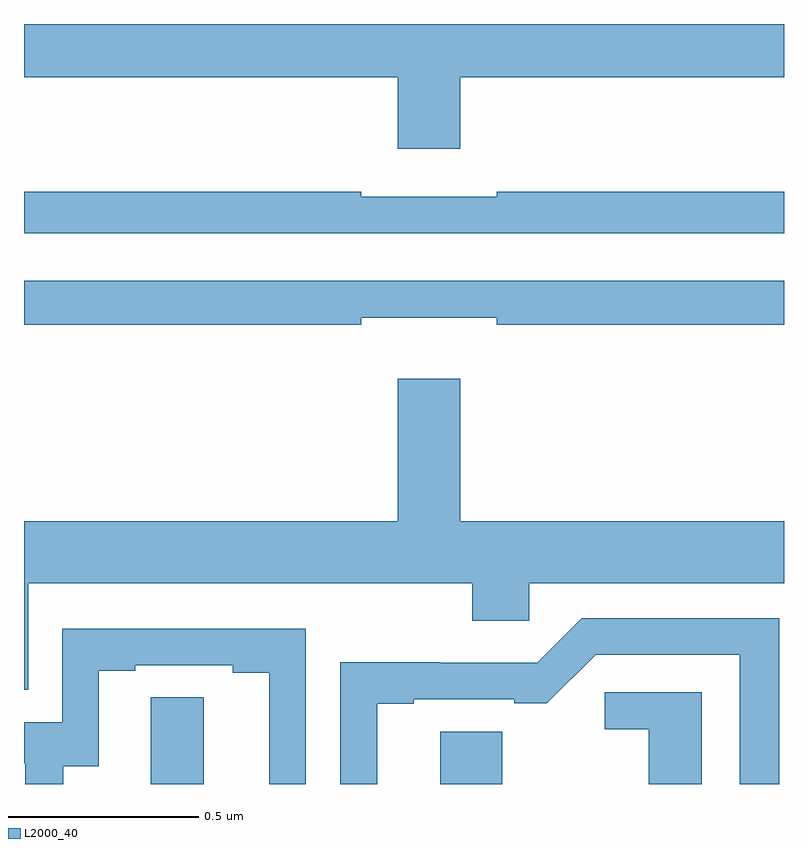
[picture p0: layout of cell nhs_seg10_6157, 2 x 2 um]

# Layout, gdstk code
import gdstk
lib = gdstk.Library(unit=1e-6, precision=1e-09)
def R(c, l, rs):  # rectangles x0, y0, x1, y1
    for r in rs: c.add(gdstk.rectangle(r[:2], r[2:], *l))
def P(c, l, *ps):  # polygons
    for p in ps: c.add(gdstk.Polygon(p, *l))
L2000_40 = (2000, 40)

nhs_seg10_6157 = lib.new_cell('nhs_seg10_6157')
R(nhs_seg10_6157, L2000_40, [(189.095,1254.5,189.258,1254.638)])
P(nhs_seg10_6157, L2000_40, [(189.148,1256.36),(190,1256.36),(190,1256.5),(188,1256.5),(188,1256.36),(188.984,1256.36),(188.984,1256.172),(189.148,1256.172)],
  [(190,1256.059),(189.244,1256.059),(189.244,1256.046),(188.888,1256.046),(188.888,1256.059),(188,1256.059),(188,1255.95),(190,1255.95)],
  [(188.888,1255.727),(189.244,1255.727),(189.244,1255.708),(190,1255.708),(190,1255.824),(188,1255.824),(188,1255.708),(188.888,1255.708)],
  [(188.011,1255.028),(189.179,1255.028),(189.179,1254.93),(189.33,1254.93),(189.33,1255.028),(190,1255.028),(190,1255.192),(189.148,1255.192),(189.148,1255.567),(188.984,1255.567),(188.984,1255.192),(188,1255.192),(188,1254.748),(188.011,1254.748)],
  [(188.929,1254.711),(189.025,1254.711),(189.025,1254.723),(189.29,1254.723),(189.29,1254.712),(189.376,1254.712),(189.504,1254.84),(189.884,1254.84),(189.884,1254.5),(189.988,1254.5),(189.988,1254.936),(189.468,1254.936),(189.351,1254.819),(189.095,1254.819),(189.095,1254.821),(188.832,1254.821),(188.832,1254.5),(188.929,1254.5)],
  [(188.103,1254.547),(188.197,1254.547),(188.197,1254.798),(188.293,1254.798),(188.293,1254.813),(188.549,1254.813),(188.549,1254.793),(188.645,1254.793),(188.645,1254.5),(188.742,1254.5),(188.742,1254.909),(188.1,1254.909),(188.1,1254.663),(188,1254.663),(188,1254.555),(188.003,1254.555),(188.003,1254.5),(188.103,1254.5)],
  [(189.784,1254.741),(189.528,1254.741),(189.528,1254.644),(189.644,1254.644),(189.644,1254.5),(189.784,1254.5)],
  [(188.473,1254.728),(188.334,1254.728),(188.334,1254.62),(188.333,1254.62),(188.333,1254.5),(188.473,1254.5)])

lib.write_gds('nhs_seg10_6157.gds')
